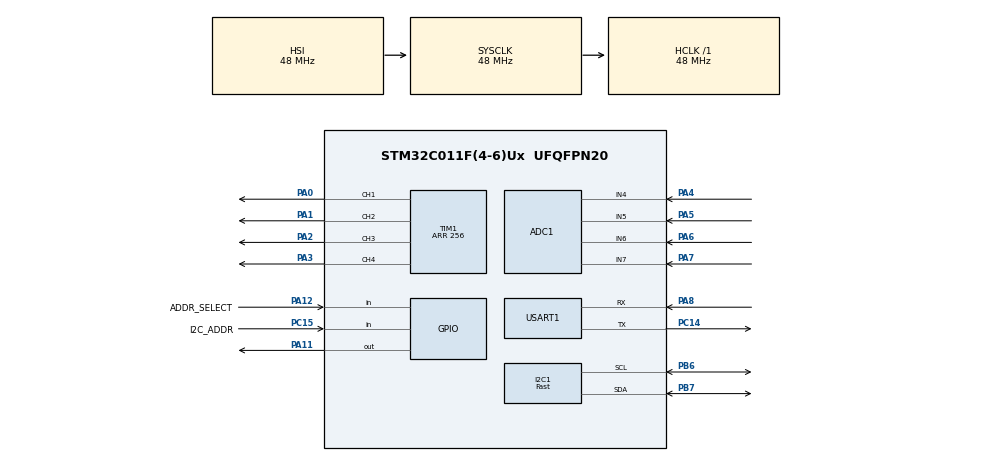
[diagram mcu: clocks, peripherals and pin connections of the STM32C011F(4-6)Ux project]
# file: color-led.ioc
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ADC1.Channel-0\#ChannelRegularConversion=ADC_CHANNEL_4
ADC1.NbrOfConversionFlag=1
ADC1.Rank-0\#ChannelRegularConversion=1
ADC1.SamplingTime-0\#ChannelRegularConversion=ADC_SAMPLINGTIME_COMMON_1
ADC1.SamplingTimeCommon1=ADC_SAMPLETIME_160CYCLES_5
ADC1.SelectedChannel=ADC_CHANNEL_4|ADC_CHANNEL_5|ADC_CHANNEL_6|ADC_CHANNEL_7
ADC1.master=1
I2C1.I2C_Speed_Mode=I2C_Fast
I2C1.OwnAddress=0x10
I2C1.Timing=0x2010091A
Mcu.Family=STM32C0
Mcu.Name=STM32C011F(4-6)Ux
Mcu.Package=UFQFPN20
NVIC.I2C1_IRQn=true\:0\:0\:false\:false\:true\:true\:true\:true
PA0.Signal=S_TIM1_CH1
PA1.Signal=S_TIM1_CH2
PA11\ [PA9].GPIO_ModeDefaultOutputPP=GPIO_MODE_OUTPUT_OD
PA11\ [PA9].GPIO_PuPd=GPIO_NOPULL
PA11\ [PA9].Signal=GPIO_Output
PA12\ [PA10].GPIO_Label=ADDR_SELECT
PA12\ [PA10].GPIO_PuPd=GPIO_PULLDOWN
PA12\ [PA10].Signal=GPIO_Input
PA13.Mode=Serial_Wire
PA13.Signal=DEBUG_SWDIO
PA14-BOOT0.Mode=Serial_Wire
PA14-BOOT0.Signal=DEBUG_SWCLK
PA2.Signal=S_TIM1_CH3
PA3.Signal=S_TIM1_CH4
PA4.Mode=IN4
PA4.Signal=ADC1_IN4
PA5.Mode=IN5
PA5.Signal=ADC1_IN5
PA6.Mode=IN6
PA6.Signal=ADC1_IN6
PA7.Mode=IN7
PA7.Signal=ADC1_IN7
PA8.Mode=Asynchronous
PA8.Signal=USART1_RX
PB6.Mode=I2C
PB6.Signal=I2C1_SCL
PB7.Mode=I2C
PB7.Signal=I2C1_SDA
PC14-OSCX_IN\ (PC14).Mode=Asynchronous
PC14-OSCX_IN\ (PC14).Signal=USART1_TX
PC15-OSCX_OUT\ (PC15).GPIO_Label=I2C_ADDR
PC15-OSCX_OUT\ (PC15).Signal=GPIO_Input
ProjectManager.HeapSize=0x200
ProjectManager.StackSize=0x400
ProjectManager.TargetToolchain=CMake
RCC.ADCFreq_Value=48000000
RCC.AHBFreq_Value=48000000
RCC.CortexFreq_Value=48000000
RCC.EXTERNAL_CLOCK_VALUE=12288000
RCC.HCLKFreq_Value=48000000
RCC.HSE_VALUE=8000000
RCC.HSISYSCLKDivider=RCC_HSI_DIV1
RCC.HSI_VALUE=48000000
RCC.LSE_VALUE=32768
RCC.SYSCLKFreq_VALUE=48000000
SH.S_TIM1_CH1.0=TIM1_CH1,PWM Generation1 CH1
SH.S_TIM1_CH2.0=TIM1_CH2,PWM Generation2 CH2
SH.S_TIM1_CH3.0=TIM1_CH3,PWM Generation3 CH3
SH.S_TIM1_CH4.0=TIM1_CH4,PWM Generation4 CH4
TIM1.AutoReloadPreload=TIM_AUTORELOAD_PRELOAD_ENABLE
TIM1.Channel-PWM\ Generation1\ CH1=TIM_CHANNEL_1
TIM1.Channel-PWM\ Generation2\ CH2=TIM_CHANNEL_2
TIM1.Channel-PWM\ Generation3\ CH3=TIM_CHANNEL_3
TIM1.Channel-PWM\ Generation4\ CH4=TIM_CHANNEL_4
TIM1.Period=256
USART1.VirtualMode-Asynchronous=VM_ASYNC
board=custom

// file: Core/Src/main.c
/* USER CODE BEGIN Header */

/**
 * ,---------,       ____  _ __
 * |  ,-^-,  |      / __ )(_) /_______________ _____  ___
 * | (  O  ) |     / __  / / __/ ___/ ___/ __ `/_  / / _ \
 * | / ,--´  |    / /_/ / / /_/ /__/ /  / /_/ / / /_/  __/
 *    +------`   /_____/_/\__/\___/_/   \__,_/ /___/\___/
 *
 * Crazyflie control firmware
 *
 * Copyright (C) 2025 Bitcraze AB
 *
 * This program is free software: you can redistribute it and/or modify
 * it under the terms of the GNU General Public License as published by
 * the Free Software Foundation, in version 3.
 *
 * This program is distributed in the hope that it will be useful,
 * but WITHOUT ANY WARRANTY; without even the implied warranty of
 * MERCHANTABILITY or FITNESS FOR A PARTICULAR PURPOSE. See the
 * GNU General Public License for more details.
 *
 * You should have received a copy of the GNU General Public License
 * along with this program. If not, see <http://www.gnu.org/licenses/>.
 *
 *
 * main.c - Color LED deck application with I2C slave protocol and LED control
 */

/* USER CODE END Header */
#include "main.h"

/* USER CODE BEGIN Includes */
#include "color.h"
#include "thermal_control.h"
#include "protocol.h"
#include "i2c_protocol.h"
#include <stdbool.h>
#include <string.h>
/* USER CODE END Includes */

/* USER CODE BEGIN PTD */
__IO uint32_t     Xfer_Complete = 0;
/* USER CODE END PTD */

/* USER CODE BEGIN PD */
static uint8_t cached_led_position = LED_POS_NONE;  // Cached LED position detected at startup
static uint8_t cached_led_current[4] = {0, 0, 0, 0};  // Cached ADC readings [R, G, B, W]

// Gamma correction LUT (gamma = 2.0 with minimum threshold)
// Input 0 -> 0 (off), Input 1-255 -> 3-255 (gamma corrected)
// Minimum output of 3 ensures LEDs start at lowest visible level
static const uint8_t gamma8[256] = {
      0,   3,   3,   3,   3,   3,   3,   3,   3,   3,   3,   3,   4,   4,   4,   4,
      4,   4,   4,   4,   5,   5,   5,   5,   5,   5,   6,   6,   6,   6,   6,   7,
      7,   7,   7,   8,   8,   8,   9,   9,   9,  10,  10,  10,  11,  11,  11,  12,
     12,  12,  13,  13,  13,  14,  14,  15,  15,  16,  16,  16,  17,  17,  18,  18,
     19,  19,  20,  20,  21,  21,  22,  23,  23,  24,  24,  25,  25,  26,  27,  27,
     28,  28,  29,  30,  30,  31,  32,  32,  33,  34,  34,  35,  36,  37,  37,  38,
     39,  39,  40,  41,  42,  43,  43,  44,  45,  46,  47,  47,  48,  49,  50,  51,
     52,  52,  53,  54,  55,  56,  57,  58,  59,  60,  61,  62,  63,  64,  65,  66,
     66,  67,  68,  70,  71,  72,  73,  74,  75,  76,  77,  78,  79,  80,  81,  82,
     83,  84,  86,  87,  88,  89,  90,  91,  93,  94,  95,  96,  97,  99, 100, 101,
    102, 103, 105, 106, 107, 109, 110, 111, 112, 114, 115, 116, 118, 119, 120, 122,
    123, 124, 126, 127, 129, 130, 131, 133, 134, 136, 137, 139, 140, 141, 143, 144,
    146, 147, 149, 150, 152, 153, 155, 156, 158, 160, 161, 163, 164, 166, 167, 169,
    171, 172, 174, 176, 177, 179, 180, 182, 184, 185, 187, 189, 191, 192, 194, 196,
    197, 199, 201, 203, 204, 206, 208, 210, 212, 213, 215, 217, 219, 221, 223, 224,
    226, 228, 230, 232, 234, 236, 238, 239, 241, 243, 245, 247, 249, 251, 253, 255
};

// Perceptual balance factors from user survey
// These scale brightness values to achieve perceptually balanced colors
// Blue is observed as weakest, others are scaled relative to it
typedef struct {
    float w, r, g, b;
} perceptualScale_t;

static const perceptualScale_t PERCEPTUAL_SCALE = {
    .w = 0.99f,
    .r = 0.78f,
    .g = 0.51f,
    .b = 1.0f
};

static rgbw_t applyBrightnessCorrection(rgbw_t input) {
    rgbw_t scaled = {
        .w = (uint8_t)(input.w * PERCEPTUAL_SCALE.w),
        .r = (uint8_t)(input.r * PERCEPTUAL_SCALE.r),
        .g = (uint8_t)(input.g * PERCEPTUAL_SCALE.g),
        .b = (uint8_t)(input.b * PERCEPTUAL_SCALE.b),
    };

    rgbw_t out = {
        .w = gamma8[scaled.w],
        .r = gamma8[scaled.r],
        .g = gamma8[scaled.g],
        .b = gamma8[scaled.b],
    };

    return out;
}

// Fade state, all in raw (pre-correction) space. current_raw_color is
// recomputed every main loop tick and is both what gets corrected for
// display and the start point captured the next time the target changes.
static rgbw_t initial_color = {0, 0, 0, 0};
static rgbw_t target_color = {0, 0, 0, 0};
static rgbw_t current_raw_color = {0, 0, 0, 0};
static float tFade = 0.0f;
static float tFadeRemaining = 0.0f;

static rgbw_t display_color = {0, 0, 0, 0};
static bool brightness_corr_enabled = true;

// I2C address configuration
// Note: OwnAddress1 uses 8-bit format (7-bit address << 1)
// Master address 0x10 -> OwnAddress1 = 0x20 (32)
// Master address 0x11 -> OwnAddress1 = 0x22 (34)
#define I2C_BASE_ADDRESS  96  // 0x60 = 0x30 << 1

/* USER CODE END PD */

ADC_HandleTypeDef hadc1;

I2C_HandleTypeDef hi2c1;

TIM_HandleTypeDef htim1;

UART_HandleTypeDef huart1;

void SystemClock_Config(void);
static void MX_GPIO_Init(void);
static void MX_ADC1_Init(void);
static void MX_I2C1_Init(void);
static void MX_TIM1_Init(void);
static void MX_USART1_UART_Init(void);
/* USER CODE BEGIN PFP */
static void I2C_Recover(void);
static void processCommand(const uint8_t *aRxBuffer, uint8_t *aTxBuffer);
static uint8_t detectLedPosition(void);
static bool readADCChannel8bit(uint32_t channel, uint8_t *result);
static uint16_t convertAdcToMilliamps(uint8_t adc_8bit, uint16_t sense_resistor_milliohms);
/* USER CODE END PFP */

/* USER CODE BEGIN 0 */

/**
 * @brief  Disable Brown-Out Reset (BOR) if it is currently enabled in the option bytes.
 */
static void disable_bor_if_enabled(void) {
    if (FLASH->OPTR & FLASH_OPTR_BOR_EN) {
        FLASH_OBProgramInitTypeDef ob_cfg = {0};

        HAL_FLASH_Unlock();
        HAL_FLASH_OB_Unlock();

        ob_cfg.OptionType = OPTIONBYTE_USER;
        ob_cfg.USERType = OB_USER_BOR_EN;
        ob_cfg.USERConfig = OB_BOR_DISABLE;

        HAL_FLASHEx_OBProgram(&ob_cfg);

        /* Launch option byte reload - this triggers a system reset */
        HAL_FLASH_OB_Launch();

        /* Should not reach here as OB_Launch resets the MCU */
        HAL_FLASH_OB_Lock();
        HAL_FLASH_Lock();
    }
}

/* USER CODE END 0 */

int main(void)
{

  /* MCU Configuration--------------------------------------------------------*/

  /* Reset of all peripherals, Initializes the Flash interface and the Systick. */
  HAL_Init();

  /* USER CODE BEGIN Init */

  /* Disable BOR in option bytes if it is currently enabled */
  disable_bor_if_enabled();

  /* USER CODE END Init */

  /* Configure the system clock */
  SystemClock_Config();

  /* USER CODE BEGIN SysInit */

// #define GLOW_UPDATE_PERIOD_MS   10
// #define GLOW_PWM_FREQ           20000
// #define GLOW_TIM_PERIOD
// #define GLOW_LED_MAX_AMP        0.50f
// #define GLOW_AMP_AT_3p7_VOLT    1.35f
// #define GLOW_AMP_AT_4p2_VOLT    1.80f

// static uint8_t power;
// static uint16_t duty;

// static void glowOn(uint8_t newPower)
// {
//   power = newPower;
// }

// static void glowOff()
// {
//   TIM_SetCompare2(TIM3, 0);
//   power = 0;
// }

// void glowTask(void* parameters)
// {
//   TickType_t xLastWakeTime;
//   uint16_t maxDuty;
//   float batComp;

//   systemWaitStart();

//   while (1)
//   {
//     xLastWakeTime = xTaskGetTickCount();

//     // TODO: Safety handling
//     batComp = (((4.2f / pmGetBatteryVoltage()) - 1.0) * 4.0) + 1.0;
//     maxDuty = ((GLOW_LED_MAX_AMP / GLOW_AMP_AT_3p7_VOLT) * 0xFFFF) * batComp;
//     duty = ((uint32_t)power * maxDuty) / 256;

//     TIM_SetCompare2(TIM3, duty);

//     vTaskDelayUntil(&xLastWakeTime, M2T(GLOW_UPDATE_PERIOD_MS));
//   }
// }

  /* USER CODE END SysInit */

  /* Initialize all configured peripherals */
  MX_GPIO_Init();
  MX_ADC1_Init();
  MX_I2C1_Init();
  MX_TIM1_Init();
  MX_USART1_UART_Init();
  /* USER CODE BEGIN 2 */

  // Wait for power supply to stabilize
  HAL_Delay(100);

  // Detect LED position once at startup and cache result
  cached_led_position = detectLedPosition();

  // Read I2C_ADDR pin (PC15) to determine I2C address
  // HIGH (pulled up by Crazyflie) = use alternate address 0x31
  if (HAL_GPIO_ReadPin(I2C_ADDR_GPIO_Port, I2C_ADDR_Pin) == GPIO_PIN_SET)
  {
    uint8_t i2c_address = I2C_BASE_ADDRESS + 2;  // Increment to next address (96 -> 98, i.e. 0x30<<1 -> 0x31<<1)

    // Reconfigure I2C with new address
    HAL_I2C_DeInit(&hi2c1);
    hi2c1.Init.OwnAddress1 = i2c_address;
    if (HAL_I2C_Init(&hi2c1) != HAL_OK)
    {
      Error_Handler();
    }

    // Reconfigure filters (same as MX_I2C1_Init)
    if (HAL_I2CEx_ConfigAnalogFilter(&hi2c1, I2C_ANALOGFILTER_ENABLE) != HAL_OK)
    {
      Error_Handler();
    }
    if (HAL_I2CEx_ConfigDigitalFilter(&hi2c1, 0) != HAL_OK)
    {
      Error_Handler();
    }
  }

  initThermalADC();
  HAL_TIM_PWM_Start(&htim1, TIM_CHANNEL_1);
  HAL_TIM_PWM_Start(&htim1, TIM_CHANNEL_2);
  HAL_TIM_PWM_Start(&htim1, TIM_CHANNEL_3);
  HAL_TIM_PWM_Start(&htim1, TIM_CHANNEL_4);

  TIM1->CCR1 = 0;
  TIM1->CCR2 = 0;
  TIM1->CCR3 = 0;
  TIM1->CCR4 = 0;

  i2cProtocolInit(processCommand);
  if(HAL_I2C_EnableListen_IT(&hi2c1) != HAL_OK)
  {
    /* Transfer error in reception process */
    Error_Handler();
  }

  /* USER CODE END 2 */

  /* Infinite loop */
  /* USER CODE BEGIN WHILE */
  // Test number to activate each color
  // R: 268435456, G: 1048576, B: 4096, W: 16
  // R: 4278190080, G: 16711680, B: 65280, W: 255

  uint32_t next_loop_tick = HAL_GetTick();
  uint32_t lastEffectTick = next_loop_tick;

  while (1)
  {
    if (i2cProtocolNeedsRecovery()) {
      I2C_Recover();
    }

    uint32_t nowTick = HAL_GetTick();
    float dt = (nowTick - lastEffectTick) / 1000.0f;
    lastEffectTick = nowTick;
    if (dt > 0.1f) {
      dt = 0.1f;
    }

    __disable_irq();
    if (tFadeRemaining > 0.0f) {
      float alpha = tFadeRemaining / tFade;

      current_raw_color.w = (uint8_t)(alpha * initial_color.w + (1.0f - alpha) * target_color.w);
      current_raw_color.r = (uint8_t)(alpha * initial_color.r + (1.0f - alpha) * target_color.r);
      current_raw_color.g = (uint8_t)(alpha * initial_color.g + (1.0f - alpha) * target_color.g);
      current_raw_color.b = (uint8_t)(alpha * initial_color.b + (1.0f - alpha) * target_color.b);

      tFadeRemaining -= dt;
    } else {
      tFadeRemaining = 0.0f;
      current_raw_color = target_color;
    }
    __enable_irq();

    display_color = brightness_corr_enabled ? applyBrightnessCorrection(current_raw_color) : current_raw_color;

    rgbw_t led_color_temp_limited = thermalLimitBrightness(display_color);

    // Rev.A
    // TIM1->CCR1 = botLedW; //White
    // TIM1->CCR2 = botLedB; //Blue
    // TIM1->CCR3 = botLedR; //Red
    // TIM1->CCR4 = botLedG;  //Green
    // Rev.B
    // TIM1->CCR1 = botLedW; //White
    // TIM1->CCR2 = botLedG; //Green
    // TIM1->CCR3 = botLedR; //Red
    // TIM1->CCR4 = botLedB; //Blue

      // Rev.D
    // if (botLedG || botLedR || botLedB || botLedW)
    // {
    //   // Enable bottom LED (has priority).
    //   // Not both at the same time, board can then overheat.
    //   HAL_GPIO_WritePin(GPIOA, GPIO_PIN_11, GPIO_PIN_RESET);
    //   HAL_GPIO_WritePin(GPIOA, GPIO_PIN_12, GPIO_PIN_SET);
      TIM1->CCR1 = led_color_temp_limited.g;
      TIM1->CCR2 = led_color_temp_limited.r;
      TIM1->CCR3 = led_color_temp_limited.b;
      TIM1->CCR4 = led_color_temp_limited.w;
    // } else {
    //   HAL_GPIO_WritePin(GPIOA, GPIO_PIN_12, GPIO_PIN_RESET);
    //   HAL_GPIO_WritePin(GPIOA, GPIO_PIN_11, GPIO_PIN_SET);
    //   TIM1->CCR1 = topLedG;
    //   TIM1->CCR2 = topLedR;
    //   TIM1->CCR3 = topLedB;
    //   TIM1->CCR4 = topLedW;
    // }

    // Maintain consistent 1ms loop timing
    next_loop_tick += 1;
    uint32_t current_tick = HAL_GetTick();
    if (next_loop_tick > current_tick) {
      HAL_Delay(next_loop_tick - current_tick);
    }
    // If loop took longer than 1ms, next_loop_tick will be in the past and we skip the delay

    // Update cached ADC readings for LED current monitoring (round-robin)
    // Reading in main loop avoids blocking I2C interrupts
    // Only read one channel per iteration to keep loop fast
    // Reduce frequency to avoid excessive overhead - only read every 16 iterations
    static uint8_t adc_channel_index = 0;
    static uint8_t adc_read_divider = 0;
    uint8_t value;

    // Only read ADC every 16 loop iterations (~16ms with 1ms loop delay)
    // This results in each channel being updated every ~64ms, which is reasonable for production monitoring
    if (++adc_read_divider >= 16) {
      adc_read_divider = 0;

      switch(adc_channel_index) {
        case 0: if (readADCChannel8bit(ADC_CHANNEL_4, &value)) cached_led_current[0] = value; break;  // PA4 - CURR_R
        case 1: if (readADCChannel8bit(ADC_CHANNEL_5, &value)) cached_led_current[1] = value; break;  // PA5 - CURR_G
        case 2: if (readADCChannel8bit(ADC_CHANNEL_6, &value)) cached_led_current[2] = value; break;  // PA6 - CURR_B
        case 3: if (readADCChannel8bit(ADC_CHANNEL_7, &value)) cached_led_current[3] = value; break;  // PA7 - CURR_W
      }
      adc_channel_index = (adc_channel_index + 1) % 4;
    }
    /* USER CODE END WHILE */

  }
}

void SystemClock_Config(void)
{
  RCC_OscInitTypeDef RCC_OscInitStruct = {0};
  RCC_ClkInitTypeDef RCC_ClkInitStruct = {0};

  /** Initializes the RCC Oscillators according to the specified parameters
  * in the RCC_OscInitTypeDef structure.
  */
  RCC_OscInitStruct.OscillatorType = RCC_OSCILLATORTYPE_HSI;
  RCC_OscInitStruct.HSIState = RCC_HSI_ON;
  RCC_OscInitStruct.HSIDiv = RCC_HSI_DIV1;
  RCC_OscInitStruct.HSICalibrationValue = RCC_HSICALIBRATION_DEFAULT;
  if (HAL_RCC_OscConfig(&RCC_OscInitStruct) != HAL_OK)
  {
    Error_Handler();
  }

  /** Initializes the CPU, AHB and APB buses clocks
  */
  RCC_ClkInitStruct.ClockType = RCC_CLOCKTYPE_HCLK|RCC_CLOCKTYPE_SYSCLK
                              |RCC_CLOCKTYPE_PCLK1;
  RCC_ClkInitStruct.SYSCLKSource = RCC_SYSCLKSOURCE_HSI;
  RCC_ClkInitStruct.SYSCLKDivider = RCC_SYSCLK_DIV1;
  RCC_ClkInitStruct.AHBCLKDivider = RCC_HCLK_DIV1;
  RCC_ClkInitStruct.APB1CLKDivider = RCC_APB1_DIV1;

  if (HAL_RCC_ClockConfig(&RCC_ClkInitStruct, FLASH_LATENCY_1) != HAL_OK)
  {
    Error_Handler();
  }
}

static void MX_ADC1_Init(void)
{

  ADC_ChannelConfTypeDef sConfig = {0};

  /** Configure the global features of the ADC (Clock, Resolution, Data Alignment and number of conversion)
  */
  hadc1.Instance = ADC1;
  hadc1.Init.ClockPrescaler = ADC_CLOCK_SYNC_PCLK_DIV2;
  hadc1.Init.Resolution = ADC_RESOLUTION_12B;
  hadc1.Init.DataAlign = ADC_DATAALIGN_RIGHT;
  hadc1.Init.ScanConvMode = ADC_SCAN_DISABLE;
  hadc1.Init.EOCSelection = ADC_EOC_SINGLE_CONV;
  hadc1.Init.LowPowerAutoWait = DISABLE;
  hadc1.Init.LowPowerAutoPowerOff = DISABLE;
  hadc1.Init.ContinuousConvMode = DISABLE;
  hadc1.Init.NbrOfConversion = 1;
  hadc1.Init.DiscontinuousConvMode = DISABLE;
  hadc1.Init.ExternalTrigConv = ADC_SOFTWARE_START;
  hadc1.Init.ExternalTrigConvEdge = ADC_EXTERNALTRIGCONVEDGE_NONE;
  hadc1.Init.DMAContinuousRequests = DISABLE;
  hadc1.Init.Overrun = ADC_OVR_DATA_PRESERVED;
  hadc1.Init.SamplingTimeCommon1 = ADC_SAMPLETIME_160CYCLES_5;
  hadc1.Init.SamplingTimeCommon2 = ADC_SAMPLETIME_1CYCLE_5;
  hadc1.Init.OversamplingMode = DISABLE;
  hadc1.Init.TriggerFrequencyMode = ADC_TRIGGER_FREQ_HIGH;
  if (HAL_ADC_Init(&hadc1) != HAL_OK)
  {
    Error_Handler();
  }

  /** Configure Regular Channel
  */
  sConfig.Channel = ADC_CHANNEL_4;
  sConfig.Rank = ADC_REGULAR_RANK_1;
  sConfig.SamplingTime = ADC_SAMPLINGTIME_COMMON_1;
  if (HAL_ADC_ConfigChannel(&hadc1, &sConfig) != HAL_OK)
  {
    Error_Handler();
  }

}

static void MX_I2C1_Init(void)
{

  hi2c1.Instance = I2C1;
  hi2c1.Init.Timing = 0x2010091A;
  hi2c1.Init.OwnAddress1 = 96;
  hi2c1.Init.AddressingMode = I2C_ADDRESSINGMODE_7BIT;
  hi2c1.Init.DualAddressMode = I2C_DUALADDRESS_DISABLE;
  hi2c1.Init.OwnAddress2 = 0;
  hi2c1.Init.OwnAddress2Masks = I2C_OA2_NOMASK;
  hi2c1.Init.GeneralCallMode = I2C_GENERALCALL_DISABLE;
  hi2c1.Init.NoStretchMode = I2C_NOSTRETCH_DISABLE;
  if (HAL_I2C_Init(&hi2c1) != HAL_OK)
  {
    Error_Handler();
  }

  /** Configure Analogue filter
  */
  if (HAL_I2CEx_ConfigAnalogFilter(&hi2c1, I2C_ANALOGFILTER_ENABLE) != HAL_OK)
  {
    Error_Handler();
  }

  /** Configure Digital filter
  */
  if (HAL_I2CEx_ConfigDigitalFilter(&hi2c1, 0) != HAL_OK)
  {
    Error_Handler();
  }

}

static void MX_TIM1_Init(void)
{

  TIM_MasterConfigTypeDef sMasterConfig = {0};
  TIM_OC_InitTypeDef sConfigOC = {0};
  TIM_BreakDeadTimeConfigTypeDef sBreakDeadTimeConfig = {0};

  htim1.Instance = TIM1;
  htim1.Init.Prescaler = 0;
  htim1.Init.CounterMode = TIM_COUNTERMODE_UP;
  htim1.Init.Period = 256;
  htim1.Init.ClockDivision = TIM_CLOCKDIVISION_DIV1;
  htim1.Init.RepetitionCounter = 0;
  htim1.Init.AutoReloadPreload = TIM_AUTORELOAD_PRELOAD_ENABLE;
  if (HAL_TIM_PWM_Init(&htim1) != HAL_OK)
  {
    Error_Handler();
  }
  sMasterConfig.MasterOutputTrigger = TIM_TRGO_RESET;
  sMasterConfig.MasterOutputTrigger2 = TIM_TRGO2_RESET;
  sMasterConfig.MasterSlaveMode = TIM_MASTERSLAVEMODE_DISABLE;
  if (HAL_TIMEx_MasterConfigSynchronization(&htim1, &sMasterConfig) != HAL_OK)
  {
    Error_Handler();
  }
  sConfigOC.OCMode = TIM_OCMODE_PWM1;
  sConfigOC.Pulse = 0;
  sConfigOC.OCPolarity = TIM_OCPOLARITY_HIGH;
  sConfigOC.OCNPolarity = TIM_OCNPOLARITY_HIGH;
  sConfigOC.OCFastMode = TIM_OCFAST_DISABLE;
  sConfigOC.OCIdleState = TIM_OCIDLESTATE_RESET;
  sConfigOC.OCNIdleState = TIM_OCNIDLESTATE_RESET;
  if (HAL_TIM_PWM_ConfigChannel(&htim1, &sConfigOC, TIM_CHANNEL_1) != HAL_OK)
  {
    Error_Handler();
  }
  if (HAL_TIM_PWM_ConfigChannel(&htim1, &sConfigOC, TIM_CHANNEL_2) != HAL_OK)
  {
    Error_Handler();
  }
  if (HAL_TIM_PWM_ConfigChannel(&htim1, &sConfigOC, TIM_CHANNEL_3) != HAL_OK)
  {
    Error_Handler();
  }
  if (HAL_TIM_PWM_ConfigChannel(&htim1, &sConfigOC, TIM_CHANNEL_4) != HAL_OK)
  {
    Error_Handler();
  }
  sBreakDeadTimeConfig.OffStateRunMode = TIM_OSSR_DISABLE;
  sBreakDeadTimeConfig.OffStateIDLEMode = TIM_OSSI_DISABLE;
  sBreakDeadTimeConfig.LockLevel = TIM_LOCKLEVEL_OFF;
  sBreakDeadTimeConfig.DeadTime = 0;
  sBreakDeadTimeConfig.BreakState = TIM_BREAK_DISABLE;
  sBreakDeadTimeConfig.BreakPolarity = TIM_BREAKPOLARITY_HIGH;
  sBreakDeadTimeConfig.BreakFilter = 0;
  sBreakDeadTimeConfig.BreakAFMode = TIM_BREAK_AFMODE_INPUT;
  sBreakDeadTimeConfig.Break2State = TIM_BREAK2_DISABLE;
  sBreakDeadTimeConfig.Break2Polarity = TIM_BREAK2POLARITY_HIGH;
  sBreakDeadTimeConfig.Break2Filter = 0;
  sBreakDeadTimeConfig.Break2AFMode = TIM_BREAK_AFMODE_INPUT;
  sBreakDeadTimeConfig.AutomaticOutput = TIM_AUTOMATICOUTPUT_DISABLE;
  if (HAL_TIMEx_ConfigBreakDeadTime(&htim1, &sBreakDeadTimeConfig) != HAL_OK)
  {
    Error_Handler();
  }
  HAL_TIM_MspPostInit(&htim1);

}

static void MX_USART1_UART_Init(void)
{

  huart1.Instance = USART1;
  huart1.Init.BaudRate = 115200;
  huart1.Init.WordLength = UART_WORDLENGTH_8B;
  huart1.Init.StopBits = UART_STOPBITS_1;
  huart1.Init.Parity = UART_PARITY_NONE;
  huart1.Init.Mode = UART_MODE_TX_RX;
  huart1.Init.HwFlowCtl = UART_HWCONTROL_NONE;
  huart1.Init.OverSampling = UART_OVERSAMPLING_16;
  huart1.Init.OneBitSampling = UART_ONE_BIT_SAMPLE_DISABLE;
  huart1.Init.ClockPrescaler = UART_PRESCALER_DIV1;
  huart1.AdvancedInit.AdvFeatureInit = UART_ADVFEATURE_NO_INIT;
  if (HAL_UART_Init(&huart1) != HAL_OK)
  {
    Error_Handler();
  }
  if (HAL_UARTEx_SetTxFifoThreshold(&huart1, UART_TXFIFO_THRESHOLD_1_8) != HAL_OK)
  {
    Error_Handler();
  }
  if (HAL_UARTEx_SetRxFifoThreshold(&huart1, UART_RXFIFO_THRESHOLD_1_8) != HAL_OK)
  {
    Error_Handler();
  }
  if (HAL_UARTEx_DisableFifoMode(&huart1) != HAL_OK)
  {
    Error_Handler();
  }

}

static void MX_GPIO_Init(void)
{
  GPIO_InitTypeDef GPIO_InitStruct = {0};

  /* GPIO Ports Clock Enable */
  __HAL_RCC_GPIOC_CLK_ENABLE();
  __HAL_RCC_GPIOA_CLK_ENABLE();
  __HAL_RCC_GPIOB_CLK_ENABLE();

  /*Configure GPIO pin Output Level */
  HAL_GPIO_WritePin(GPIOA, GPIO_PIN_11, GPIO_PIN_RESET);

  /*Configure GPIO pin : I2C_ADDR_Pin */
  GPIO_InitStruct.Pin = I2C_ADDR_Pin;
  GPIO_InitStruct.Mode = GPIO_MODE_INPUT;
  GPIO_InitStruct.Pull = GPIO_PULLDOWN;
  HAL_GPIO_Init(I2C_ADDR_GPIO_Port, &GPIO_InitStruct);

  /*Configure GPIO pin : PA11 */
  GPIO_InitStruct.Pin = GPIO_PIN_11;
  GPIO_InitStruct.Mode = GPIO_MODE_OUTPUT_OD;
  GPIO_InitStruct.Pull = GPIO_NOPULL;
  GPIO_InitStruct.Speed = GPIO_SPEED_FREQ_LOW;
  HAL_GPIO_Init(GPIOA, &GPIO_InitStruct);

  /*Configure GPIO pin : ADDR_SELECT_Pin */
  GPIO_InitStruct.Pin = ADDR_SELECT_Pin;
  GPIO_InitStruct.Mode = GPIO_MODE_INPUT;
  GPIO_InitStruct.Pull = GPIO_PULLDOWN;
  HAL_GPIO_Init(ADDR_SELECT_GPIO_Port, &GPIO_InitStruct);

}

/* USER CODE BEGIN 4 */

/**
  * @brief  Recover I2C peripheral from error state
  *         Re-initializes the peripheral and re-enables listen mode.
  *         The hi2c1.Init struct (including OwnAddress1) survives DeInit,
  *         so the correct address is preserved.
  */
static void I2C_Recover(void)
{
  HAL_I2C_DeInit(&hi2c1);
  i2cProtocolReset();
  HAL_I2C_Init(&hi2c1);
  HAL_I2CEx_ConfigAnalogFilter(&hi2c1, I2C_ANALOGFILTER_ENABLE);
  HAL_I2CEx_ConfigDigitalFilter(&hi2c1, 0);
  HAL_I2C_EnableListen_IT(&hi2c1);
}

/**
  * @brief  Read ADC channel value
  * @param  channel: ADC channel to read
  * @param  result: Pointer to store 8-bit ADC value (scaled from 12-bit)
  * @retval true if successful, false on timeout
  */
static bool readADCChannel8bit(uint32_t channel, uint8_t *result) {
  ADC_ChannelConfTypeDef sConfig = {0};
  sConfig.Channel = channel;
  sConfig.Rank = ADC_REGULAR_RANK_1;
  sConfig.SamplingTime = ADC_SAMPLETIME_160CYCLES_5;

  HAL_ADC_ConfigChannel(&hadc1, &sConfig);

  HAL_ADC_Start(&hadc1);

  // Use 10ms timeout (acceptable since we only read one channel per loop iteration)
  if (HAL_ADC_PollForConversion(&hadc1, 10) == HAL_OK) {
    uint16_t adc_value = HAL_ADC_GetValue(&hadc1);
    HAL_ADC_Stop(&hadc1);
    // Scale 12-bit (0-4095) to 8-bit (0-255)
    *result = (uint8_t)(adc_value >> 4);
    return true;
  }

  HAL_ADC_Stop(&hadc1);
  return false;
}

/**
  * @brief  Convert 8-bit ADC value to current in milliamps
  * @param  adc_8bit: 8-bit ADC value (0-255)
  * @param  sense_resistor_milliohms: Sense resistor value in milliohms (e.g., 3400 for 3.4Ω)
  * @retval Current in milliamps
  */
static uint16_t convertAdcToMilliamps(uint8_t adc_8bit, uint16_t sense_resistor_milliohms) {
  // Convert 8-bit back to 12-bit
  uint16_t adc_12bit = (uint16_t)adc_8bit << 4;

  // Convert to voltage in millivolts (VDDA = 3100mV)
  // voltage_mv = (adc_12bit / 4095) * 3100
  uint32_t voltage_mv = ((uint32_t)adc_12bit * 3100) / 4095;

  // Convert to current using Ohm's law: I = V / R
  // current_ma = (voltage_mv * 1000) / sense_resistor_milliohms
  uint16_t current_ma = (voltage_mv * 1000) / sense_resistor_milliohms;

  return current_ma;
}

/**
  * @brief  Detect LED position based on PA12 pin state using pull-up/pull-down detection
  *
  * This function determines the presence and orientation of the LED by testing the PA12 pin
  * with both pull-down and pull-up configurations:
  *   - First, the pin is read with a pull-down resistor. If the pin reads LOW, it may be floating
  *     (no LED mounted) or actively driven LOW (bottom-facing LED).
  *   - To distinguish, the pin is then read with a pull-up resistor. If the pin reads HIGH, it was
  *     floating (no LED mounted). If it remains LOW, it is actively driven LOW (bottom-facing LED).
  *   - If the initial pull-down read is HIGH, the pin is actively driven HIGH (top-facing LED).
  *
  * @retval LED position:
  *   - LED_POS_NONE   : No LED mounted (pin floating)
  *   - LED_POS_BOTTOM : Bottom-facing LED (pin driven LOW)
  *   - LED_POS_TOP    : Top-facing LED (pin driven HIGH)
  */
static uint8_t detectLedPosition(void) {
  GPIO_InitTypeDef GPIO_InitStruct = {0};
  GPIO_PinState state_pulldown, state_pullup;

  // First read: with pull-down
  state_pulldown = HAL_GPIO_ReadPin(ADDR_SELECT_GPIO_Port, ADDR_SELECT_Pin);

  if (state_pulldown == GPIO_PIN_RESET) {
    // Could be floating or actively driven low - test with pull-up
    GPIO_InitStruct.Pin = ADDR_SELECT_Pin;
    GPIO_InitStruct.Mode = GPIO_MODE_INPUT;
    GPIO_InitStruct.Pull = GPIO_PULLUP;
    HAL_GPIO_Init(ADDR_SELECT_GPIO_Port, &GPIO_InitStruct);
    HAL_Delay(1);  // Brief delay for pin to stabilize

    state_pullup = HAL_GPIO_ReadPin(ADDR_SELECT_GPIO_Port, ADDR_SELECT_Pin);

    // Restore pull-down configuration
    GPIO_InitStruct.Pull = GPIO_PULLDOWN;
    HAL_GPIO_Init(ADDR_SELECT_GPIO_Port, &GPIO_InitStruct);

    if (state_pullup == GPIO_PIN_SET) {
      // Pin was floating - no LED mounted
      return LED_POS_NONE;
    } else {
      // Pin is actively driven LOW - bottom-facing LED
      return LED_POS_BOTTOM;
    }
  } else {
    // Pin is actively driven HIGH - top-facing LED
    return LED_POS_TOP;
  }
}

/**
  * @brief Process a complete command in I2C interrupt context.
  */
static void processCommand(const uint8_t *aRxBuffer, uint8_t *aTxBuffer)
{
  // The transport dispatches only complete requests of the command's length.
  uint8_t cmd = aRxBuffer[0];

  switch(cmd) {
    case CMD_SET_COLOR_FADE:
      {
        rgbw_t target = {
          .w = aRxBuffer[1], //White
          .r = aRxBuffer[2], //Red
          .g = aRxBuffer[3], //Green
          .b = aRxBuffer[4]  //Blue
        };
        float fadeTime;
        memcpy(&fadeTime, &aRxBuffer[5], sizeof(float));

        if (target.w != target_color.w || target.r != target_color.r ||
            target.g != target_color.g || target.b != target_color.b) {
          __disable_irq();
          initial_color = current_raw_color;
          target_color = target;
          tFade = fadeTime;
          tFadeRemaining = fadeTime;
          __enable_irq();
        }
      }
      break;

    case CMD_SET_BRIGHTNESS_CORR:
      brightness_corr_enabled = aRxBuffer[1] != 0;
      break;

    case CMD_GET_VERSION:
      // Prepare version response
      aTxBuffer[0] = CMD_GET_VERSION;
      aTxBuffer[1] = COLOR_LED_PROTOCOL_VERSION;
      break;

    case CMD_GET_THERMAL_STATUS:
      // Prepare thermal status response
      aTxBuffer[0] = CMD_GET_THERMAL_STATUS;
      aTxBuffer[1] = (uint8_t)lastTemperature; // temp as integer degrees
      aTxBuffer[2] = (uint8_t)(throttlingFactor * 100.0f);  // factor as percentage 0-100
      break;

    case CMD_GET_LED_POSITION:
      // Prepare LED position response (cached from startup)
      aTxBuffer[0] = CMD_GET_LED_POSITION;
      aTxBuffer[1] = cached_led_position;
      break;

    case CMD_GET_LED_CURRENT:
      // Convert cached ADC values to current in milliamps
      // Red channel uses 3.4Ω (3400 milliohms), others use 1.0Ω (1000 milliohms)
      {
        uint16_t current_r = convertAdcToMilliamps(cached_led_current[0], 3400);  // PA4 - CURR_R
        uint16_t current_g = convertAdcToMilliamps(cached_led_current[1], 1000);  // PA5 - CURR_G
        uint16_t current_b = convertAdcToMilliamps(cached_led_current[2], 1000);  // PA6 - CURR_B
        uint16_t current_w = convertAdcToMilliamps(cached_led_current[3], 1000);  // PA7 - CURR_W

        aTxBuffer[0] = CMD_GET_LED_CURRENT;
        // Pack as big-endian uint16_t (high byte, low byte)
        aTxBuffer[1] = (current_r >> 8) & 0xFF;
        aTxBuffer[2] = current_r & 0xFF;
        aTxBuffer[3] = (current_g >> 8) & 0xFF;
        aTxBuffer[4] = current_g & 0xFF;
        aTxBuffer[5] = (current_b >> 8) & 0xFF;
        aTxBuffer[6] = current_b & 0xFF;
        aTxBuffer[7] = (current_w >> 8) & 0xFF;
        aTxBuffer[8] = current_w & 0xFF;
      }
      break;

    case CMD_GET_I2C_ADDR_PIN:
      // Prepare I2C address pin state response
      aTxBuffer[0] = CMD_GET_I2C_ADDR_PIN;
      aTxBuffer[1] = HAL_GPIO_ReadPin(I2C_ADDR_GPIO_Port, I2C_ADDR_Pin);
      break;

    default:
      // Unknown command - ignore
      break;
  }
}

/* USER CODE END 4 */

void Error_Handler(void)
{
  __disable_irq();
  while (1)
  {
  }
}
